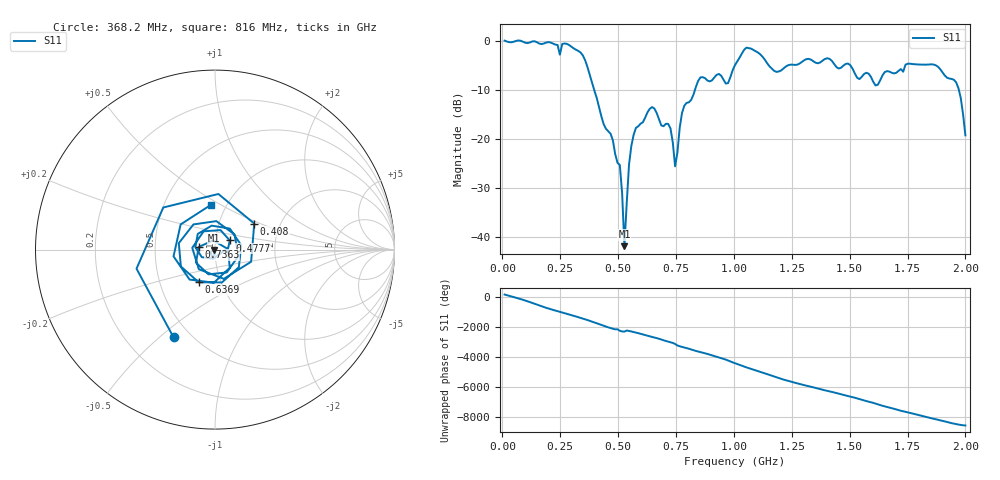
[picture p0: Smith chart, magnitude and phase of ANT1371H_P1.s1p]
!Created with skrf (http://scikit-rf.org).
# Hz S RI R 50.0
!freq ReS11 ImS11
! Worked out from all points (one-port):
!   201 points, 10 MHz to 2 GHz, reference 50 ohm
!   lowest |S11| = -41.9 dB at 527.4 MHz (marker M1), VSWR 1.02, Z = 49.3 - j0.272 ohm
!   |S11| at or under -10 dB: 397 MHz to 831.8 MHz (434.8 MHz wide, 70.8 % of centre); 1.972 GHz to end of sweep
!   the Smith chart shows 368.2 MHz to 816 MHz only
!   S11 on the Smith chart (normalised r, x): 368.2 MHz: 0.40, -0.56; 408 MHz: 1.47, +0.46; 477.6 MHz: 1.17, +0.12; 636.9 MHz: 0.78, -0.30; 736.4 MHz: 0.83, +0.02; 816 MHz: 0.85, +0.45
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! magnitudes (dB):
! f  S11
! 10 MHz  0.1
! 258.8 MHz  -0.6
! 368.2 MHz  -5.3
! 408 MHz  -11.6
! 477.6 MHz  -20.3
! 507.5 MHz  -25.3
! 517.5 MHz  -31.0
! 527.4 MHz  -41.9
! 547.3 MHz  -25.2
! 557.2 MHz  -21.4
! 636.9 MHz  -13.8
! 716.5 MHz  -16.9
! 736.4 MHz  -20.7
! 746.3 MHz  -25.6
! 756.2 MHz  -22.8
! 776.1 MHz  -14.7
! 816 MHz  -12.0
! 855.8 MHz  -7.4
! 975.1 MHz  -8.6
! 1.005 GHz  -4.9
! 1.055 GHz  -1.3
! 1.184 GHz  -6.3
! 1.254 GHz  -4.8
! 1.502 GHz  -4.9
! 1.612 GHz  -9.0
! 1.751 GHz  -4.6
! 1.96 GHz  -8.4
! 2 GHz  -19.3
